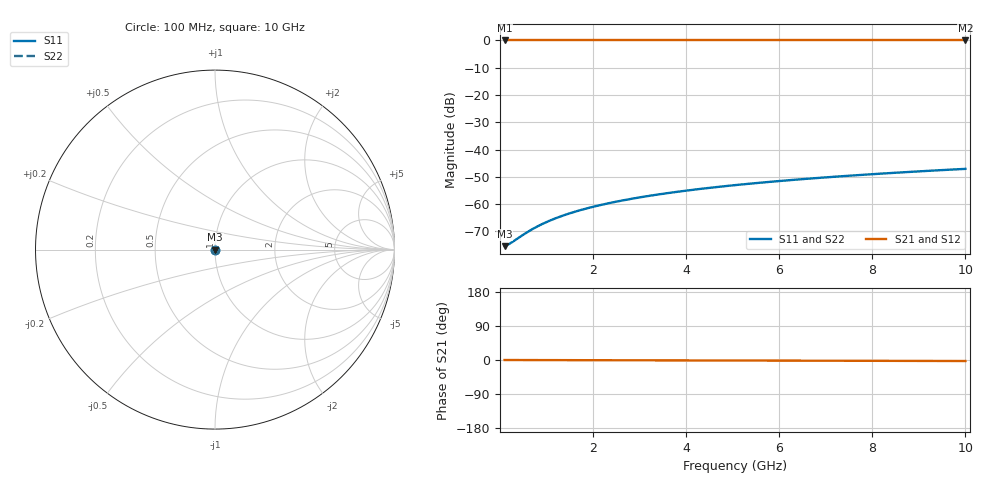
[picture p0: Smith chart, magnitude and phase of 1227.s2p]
# Hz S RI R 50.00
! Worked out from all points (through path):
!   100 points, 100 MHz to 10 GHz, reference 50 ohm
!   highest |S21| = 0.00 dB at 100 MHz (marker M1); lowest = 0.0 dB at 10 GHz (marker M2)
!   lowest |S11| = -75.4 dB at 100 MHz (marker M3), VSWR 1.00, Z = 50 - j0.00438 ohm
!   |S11| at or under -10 dB: start of sweep to end of sweep
!   |S22| runs from -75.4 to -47.1 dB; largest |S21 - S12| = 0
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1e8  0.000163 -4.38e-05  0.9998 -0.000471  0.9998 -0.000471  0.000163 -4.38e-05
2e8  0.000164 -8.76e-05  0.9998 -0.000942  0.9998 -0.000942  0.000164 -8.76e-05
6e8  0.000165 -0.000263  0.9998 -0.00283  0.9998 -0.00283  0.000165 -0.000263
7e8  0.000165 -0.000307  0.9998 -0.0033  0.9998 -0.0033  0.000165 -0.000307
9e8  0.000165 -0.000394  0.9998 -0.00424  0.9998 -0.00424  0.000165 -0.000394
1.1e9  0.000164 -0.000482  0.9998 -0.00518  0.9998 -0.00518  0.000164 -0.000482
1.3e9  0.000163 -0.00057  0.9998 -0.00612  0.9998 -0.00612  0.000163 -0.00057
1.5e9  0.000162 -0.000657  0.9998 -0.00706  0.9998 -0.00706  0.000162 -0.000657
1.8e9  0.00016 -0.000789  0.9998 -0.00848  0.9998 -0.00848  0.00016 -0.000789
2.1e9  0.000158 -0.000921  0.9998 -0.00989  0.9998 -0.00989  0.000158 -0.000921
2.5e9  0.000154 -0.0011  0.9997 -0.0118  0.9997 -0.0118  0.000154 -0.0011
2.9e9  0.00015 -0.00127  0.9997 -0.0137  0.9997 -0.0137  0.00015 -0.00127
3.4e9  0.000143 -0.00149  0.9997 -0.016  0.9997 -0.016  0.000143 -0.00149
3.8e9  0.000137 -0.00167  0.9997 -0.0179  0.9997 -0.0179  0.000137 -0.00167
4.2e9  0.00013 -0.00185  0.9996 -0.0198  0.9996 -0.0198  0.00013 -0.00185
4.6e9  0.000123 -0.00202  0.9996 -0.0217  0.9996 -0.0217  0.000123 -0.00202
5.1e9  0.000113 -0.00224  0.9995 -0.024  0.9995 -0.024  0.000113 -0.00224
5.9e9  9.42e-05 -0.0026  0.9994 -0.0278  0.9994 -0.0278  9.42e-05 -0.0026
6.7e9  7.29e-05 -0.00295  0.9993 -0.0316  0.9993 -0.0316  7.29e-05 -0.00295
7.5e9  4.88e-05 -0.00331  0.9992 -0.0354  0.9992 -0.0354  4.88e-05 -0.00331
8.4e9  1.85e-05 -0.00371  0.999 -0.0397  0.999 -0.0397  1.85e-05 -0.00371
1e10  -4.38e-05 -0.00442  0.9987 -0.0473  0.9987 -0.0473  -4.38e-05 -0.00442
